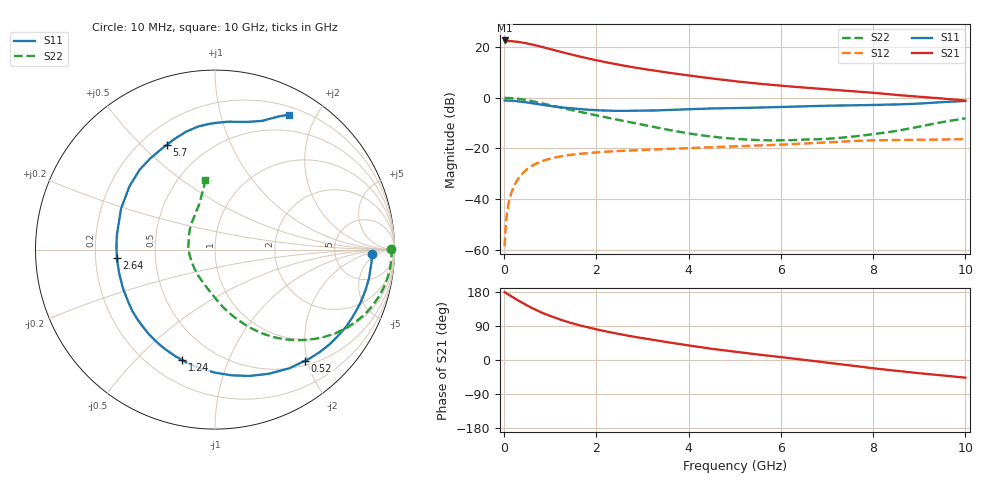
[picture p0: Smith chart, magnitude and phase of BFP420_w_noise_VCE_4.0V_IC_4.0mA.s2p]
! Infineon Technologies  Discrete & RF Semiconductors
! BFP420
! VCE =  4.0 V,  IC =  4.0 mA
! Common Emitter S-Parameters:  Jan 2016
# GHz  S  MA  R  50
!  f  S11  S21  S12  S22
! GHz  MAG  ANG  MAG  ANG  MAG  ANG  MAG  ANG
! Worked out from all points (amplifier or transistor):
!   233 points, 10 MHz to 10 GHz, reference 50 ohm
!   highest |S21| = 22.5 dB at 10 MHz (marker M1)
!   |S21| within 3 dB of that: start of sweep to 917 MHz
!   unconditionally stable (mu >= 1): 3.231 GHz to end of sweep
!   at 200 MHz: K = 0.11, MSG = 28.8 dB, |S12| = -35.4 dB
!   at 1.74 GHz: K = 0.53, MSG = 18.8 dB, |S12| = -21.9 dB
!   at 10 GHz: K = 1.14, MAG = 5.3 dB, |S12| = -16.3 dB
!   lowest NFmin = 0.61 dB at 900 MHz
!   S11 on the Smith chart (normalised r, x): 10 MHz: 14, -3; 520 MHz: 0.58, -1.96; 1.24 GHz: 0.33, -0.69; 2.64 GHz: 0.29, -0.04; 5.7 GHz: 0.30, +0.60; 10 GHz: 0.29, +1.65
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0.01  0.8757 -1.6  13.28 179.1  0.0012 36.0  0.9826 0.3
0.02  0.8747 -2.1  12.91 178.4  0.0019 59.1  0.9848 -1.0
0.095  0.8733 -9.7  12.94 172.7  0.0082 79.1  0.9823 -5.2
0.2  0.8631 -20.0  12.77 164.9  0.017 76.6  0.969 -11.0
0.3  0.848 -30.1  12.46 157.5  0.0251 72.6  0.9484 -16.3
0.4  0.828 -39.7  12.07 150.5  0.0325 68.0  0.9208 -21.4
0.52  0.7973 -50.9  11.49 142.6  0.0405 62.8  0.8813 -27.1
0.68  0.7574 -64.9  10.67 132.6  0.0496 56.4  0.8239 -33.9
0.8  0.7295 -74.8  10.01 125.9  0.0554 52.2  0.7803 -38.5
1  0.6852 -90.2  8.992 115.9  0.0632 46.2  0.7088 -45.3
1.24  0.6418 -106.6  7.882 105.7  0.0702 40.3  0.6312 -52.2
1.42  0.6176 -117.8  7.164 98.8  0.0744 36.8  0.5798 -56.7
1.68  0.5895 -132.3  6.292 90.2  0.0792 32.5  0.5147 -62.4
2.16  0.5573 -155.2  5.056 76.7  0.0856 26.6  0.4182 -71.3
2.64  0.5488 -175.3  4.18 65.2  0.0904 22.1  0.3404 -79.9
3.4  0.5641 159.5  3.241 49.8  0.0966 17.1  0.2484 -94.1
4.1  0.5954 141.3  2.652 36.6  0.1025 13.5  0.1914 -111.6
5.1  0.6251 123.6  2.055 20.5  0.1106 8.8  0.1526 -140.9
5.7  0.6429 114.6  1.814 11.9  0.1157 6.4  0.1445 -159.8
6.8  0.685 100.1  1.503 -3.9  0.1289 1.3  0.1516 167.0
8.4  0.7272 78.0  1.151 -27.3  0.1462 -11.2  0.2137 123.6
10  0.8562 61.4  0.873 -46.7  0.1533 -20.2  0.391 97.8
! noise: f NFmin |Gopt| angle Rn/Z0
0.9  0.61  0.27  32  0.16
1.8  1.03  0.14  83  0.13
2.4  1.11  0.17  110  0.14
3  1.23  0.2  153  0.11
4  1.42  0.31  -151  0.11
5  1.77  0.38  -123  0.23
6  2.35  0.47  -104  0.33
